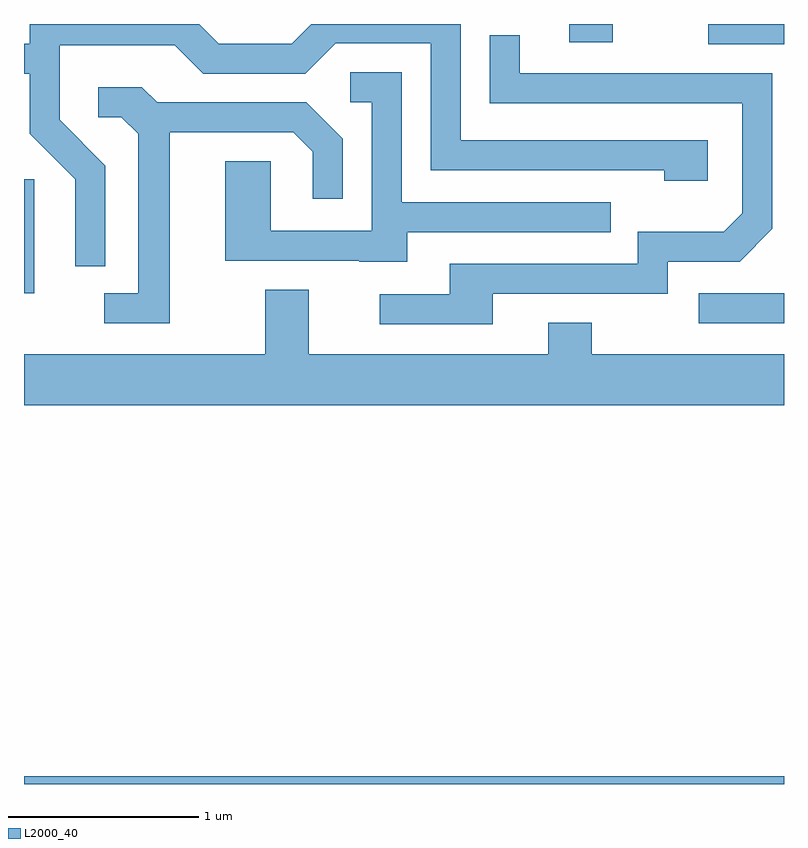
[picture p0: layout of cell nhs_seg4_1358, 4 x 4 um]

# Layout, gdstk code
import gdstk
lib = gdstk.Library(unit=1e-6, precision=1e-09)
def R(c, l, rs):  # rectangles x0, y0, x1, y1
    for r in rs: c.add(gdstk.rectangle(r[:2], r[2:], *l))
def P(c, l, *ps):  # polygons
    for p in ps: c.add(gdstk.Polygon(p, *l))
L2000_40 = (2000, 40)

nhs_seg4_1358 = lib.new_cell('nhs_seg4_1358')
R(nhs_seg4_1358, L2000_40, [(223.611,1385.982,227.611,1386.024), (223.611,1388.566,223.664,1389.164), (227.213,1389.876,227.611,1389.982), (226.481,1389.886,226.709,1389.982)])
P(nhs_seg4_1358, L2000_40, [(224.039,1389.237),(223.799,1389.477),(223.799,1389.871),(224.404,1389.871),(224.554,1389.721),(225.092,1389.721),(225.252,1389.881),(225.751,1389.881),(225.751,1389.211),(226.981,1389.211),(226.981,1389.156),(227.209,1389.156),(227.209,1389.369),(225.909,1389.369),(225.909,1389.982),(225.122,1389.982),(225.019,1389.879),(224.637,1389.879),(224.534,1389.982),(223.641,1389.982),(223.641,1389.879),(223.611,1389.879),(223.611,1389.721),(223.641,1389.721),(223.641,1389.404),(223.881,1389.164),(223.881,1388.708),(224.039,1388.708)],
  [(226.079,1388.561),(226.999,1388.561),(226.999,1388.731),(227.377,1388.731),(227.549,1388.904),(227.549,1389.724),(226.219,1389.724),(226.219,1389.923),(226.061,1389.923),(226.061,1389.566),(227.391,1389.566),(227.391,1388.987),(227.294,1388.889),(226.841,1388.889),(226.841,1388.719),(225.851,1388.719),(225.851,1388.559),(225.483,1388.559),(225.483,1388.401),(226.079,1388.401)],
  [(225.629,1388.886),(226.698,1388.886),(226.698,1389.044),(225.599,1389.044),(225.599,1389.729),(225.328,1389.729),(225.328,1389.571),(225.441,1389.571),(225.441,1388.894),(224.909,1388.894),(224.909,1389.259),(224.671,1389.259),(224.671,1388.736),(225.375,1388.736),(225.375,1388.731),(225.629,1388.731)],
  [(224.379,1389.411),(225.029,1389.411),(225.131,1389.309),(225.131,1389.063),(225.289,1389.063),(225.289,1389.377),(225.097,1389.569),(224.312,1389.569),(224.232,1389.649),(224.003,1389.649),(224.003,1389.491),(224.124,1389.491),(224.211,1389.404),(224.211,1388.564),(224.033,1388.564),(224.033,1388.406),(224.379,1388.406)],
  [(227.611,1388.244),(226.599,1388.244),(226.599,1388.409),(226.371,1388.409),(226.371,1388.244),(225.109,1388.244),(225.109,1388.584),(224.881,1388.584),(224.881,1388.244),(223.611,1388.244),(223.611,1387.976),(227.611,1387.976)],
  [(227.611,1388.566),(227.609,1388.564),(227.163,1388.564),(227.163,1388.406),(227.611,1388.406)])

lib.write_gds('nhs_seg4_1358.gds')
